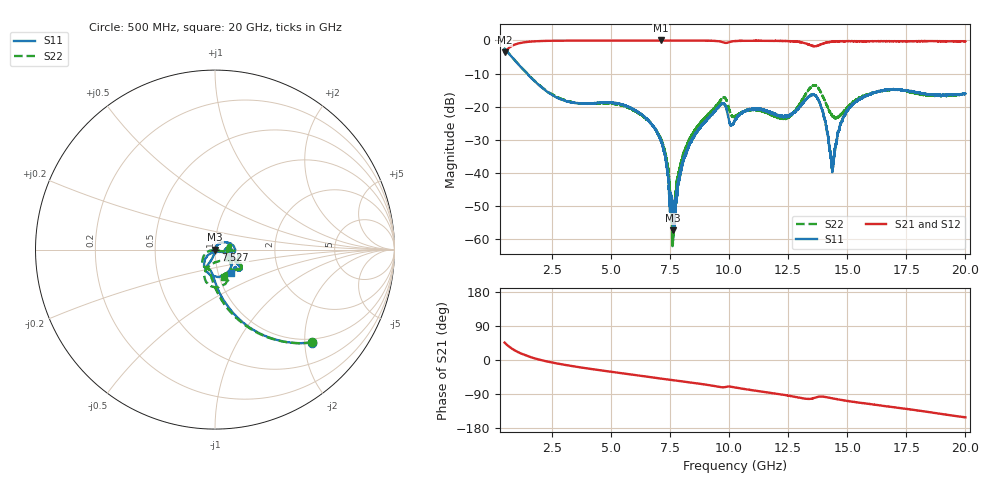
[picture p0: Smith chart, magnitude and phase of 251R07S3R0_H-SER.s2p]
!{201R07S3R0}
!Johanson Technology Inc.
!www.johansontechnology.com
!Test Board Conditions:
!Substrate Type  RO4350B
!Substrate Thickness  10 mil
!Substrate Dk  3.66
!TL Type: GCPW
!TL Trace Width  21 mil
!TL Gap  20 mil
!Electrode orientation  Horizontal
!DUT TOPOLOGY	SERIES
!Mounting Pad LxW  16x21 mil
!Agilent Technologies,N5230A,MY45001966,A.07.50.67
!Agilent N5230A: A.07.50.67
! Created Mon Mar  9 16:28:33 2020
# mhz S ma R 50
! 2 Port Network Data from SP1.SP block
! freq  magS11  angS11  magS21  angS21  magS12  angS12  magS22  angS22
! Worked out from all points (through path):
!   19501 points, 500 MHz to 20 GHz, reference 50 ohm
!   highest |S21| = -0.03 dB at 7.116 GHz (marker M1); lowest = -3.7 dB at 500 MHz (marker M2)
!   group delay of S21, straight-line fit = 23.3 ps
!   lowest |S11| = -57.2 dB at 7.63 GHz (marker M3), VSWR 1.00, Z = 50.1 - j0.0401 ohm
!   |S11| at or under -10 dB: 1.453 GHz to end of sweep
!   |S22| runs from -62.0 to -2.5 dB; largest |S21 - S12| = 0.014
!   S11 on the Smith chart (normalised r, x): 500 MHz: 0.92, -2.16; 7.527 GHz: 1.01, -0.01; 20 GHz: 1.15, -0.30
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500  0.7484 -43.8  0.6568 45.9  0.6589 46.0  0.7485 -43.6
1532  0.293 -79.8  0.9524 9.0  0.9528 9.0  0.2964 -81.4
3750  0.1122 -108.1  0.9895 -19.9  0.989 -19.9  0.1119 -109.7
5727  0.1002 -115.7  0.9913 -37.2  0.9906 -37.2  0.09706 -137.0
7000  0.03839 -104.9  0.9946 -48.0  0.9948 -48.1  0.03887 -165.3
7116  0.03049 -102.7  0.9962 -49.0  0.9947 -49.1  0.03215 -166.4
7371  0.01231 -93.7  0.9946 -51.2  0.9947 -51.2  0.01511 -164.0
7527  0.004906 -58.4  0.994 -52.4  0.9945 -52.5  0.003199 -168.5
7630  0.001385 -16.8  0.9946 -53.4  0.9939 -53.3  0.001666 -113.5
7989  0.01256 70.4  0.9937 -56.3  0.9947 -56.3  0.01546 -21.1
8482  0.0341 58.9  0.9927 -60.4  0.9922 -60.4  0.04015 -12.0
9746  0.1127 -3.8  0.9355 -72.0  0.9343 -72.0  0.1372 -15.6
10250  0.06321 6.5  0.9745 -72.4  0.9742 -72.4  0.07237 -10.3
11040  0.09248 -2.2  0.985 -80.2  0.9832 -80.2  0.09015 14.3
12468  0.07229 -17.7  0.9754 -93.4  0.979 -93.7  0.07009 -10.1
13500  0.1499 -72.8  0.8327 -102.0  0.8316 -102.2  0.2016 -76.2
13912  0.09569 -128.6  0.8782 -96.5  0.8739 -96.7  0.1571 -112.2
14371  0.011 -76.4  0.9537 -101.1  0.9547 -101.4  0.07284 -92.2
14671  0.04494 -19.9  0.9687 -104.3  0.9669 -104.7  0.07245 -59.3
15038  0.08977 -23.4  0.9705 -108.2  0.974 -108.4  0.1 -36.5
16750  0.1793 -36.5  0.9724 -122.7  0.9668 -123.0  0.1787 -34.1
20000  0.1565 -55.7  0.9675 -151.3  0.9684 -151.3  0.1576 -72.0
